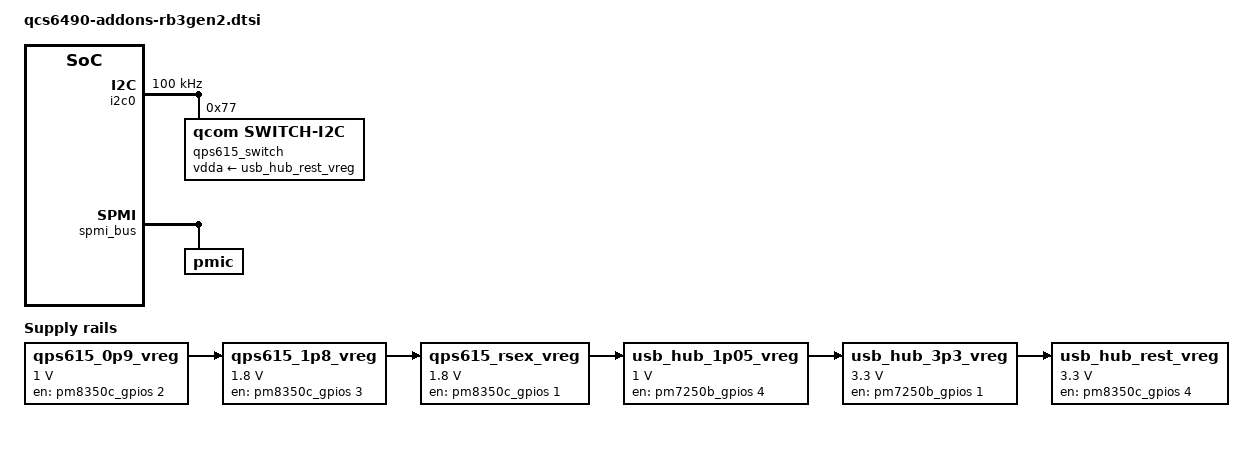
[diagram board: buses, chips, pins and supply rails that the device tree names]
// SPDX-License-Identifier: BSD-3-Clause
/*
 * qcm6490-addons-rb3gen2 device tree source include
 *
 * Copyright (c) 2024 Qualcomm Innovation Center, Inc. All rights reserved.
 *
 */
#include "qcm6490-addons.dtsi"

/ {
	qps615_0p9_vreg: qps615-0p9-vreg {
		compatible = "regulator-fixed";
		regulator-name = "qps615_0p9_vreg";
		gpio = <&pm8350c_gpios 2 0>;
		regulator-min-microvolt = <1000000>;
		regulator-max-microvolt = <1000000>;
		enable-active-high;
		regulator-enable-ramp-delay = <4300>;
	};

	qps615_1p8_vreg: qps615-1p8-vreg {
		compatible = "regulator-fixed";
		regulator-name = "qps615_1p8_vreg";
		gpio = <&pm8350c_gpios 3 0>;
		vin-supply = <&qps615_0p9_vreg>;
		regulator-min-microvolt = <1800000>;
		regulator-max-microvolt = <1800000>;
		enable-active-high;
		regulator-enable-ramp-delay = <10000>;
	};

	qps615_rsex_vreg: qps615-rsex-vreg {
		compatible = "regulator-fixed";
		regulator-name = "qps615_rsex_vreg";
		gpio = <&pm8350c_gpios 1 0>;
		vin-supply = <&qps615_1p8_vreg>;
		regulator-min-microvolt = <1800000>;
		regulator-max-microvolt = <1800000>;
		enable-active-high;
		regulator-enable-ramp-delay = <10000>;
	};

	usb_hub_1p05_vreg: usb-hub-1p05-vreg {
		compatible = "regulator-fixed";
		regulator-name = "usb_hub_1p05_vreg";
		gpio = <&pm7250b_gpios 4 0>;
		vin-supply = <&qps615_rsex_vreg>;
		regulator-min-microvolt = <1000000>;
		regulator-max-microvolt = <1000000>;
		enable-active-high;
		regulator-enable-ramp-delay = <5000>;
	};

	usb_hub_3p3_vreg: usb-hub-3p3-vreg {
		compatible = "regulator-fixed";
		regulator-name = "usb_hub_3p3_vreg";
		gpio = <&pm7250b_gpios 1 0>;
		vin-supply = <&usb_hub_1p05_vreg>;
		regulator-min-microvolt = <3300000>;
		regulator-max-microvolt = <3300000>;
		enable-active-high;
		regulator-enable-ramp-delay = <10000>;
	};

	usb_hub_rest_vreg: usb-hub-rest-vreg {
		compatible = "regulator-fixed";
		regulator-name = "usb_hub_rest_vreg";
		gpio = <&pm8350c_gpios 4 0>;
		vin-supply = <&usb_hub_3p3_vreg>;
		regulator-min-microvolt = <3300000>;
		regulator-max-microvolt = <3300000>;
		enable-active-high;
	};
};

&i2c0 {
	clock-frequency = <100000>;
	status = "okay";

	qps615_switch: pcie-switch@77 {
		compatible = "qcom,switch-i2c";
		reg = <0x77>;
		vdda-supply = <&usb_hub_rest_vreg>;
		status = "okay";
	};
};

&pcie1 {
	dummy-supply = <&qps615_switch>;
};

&pcie1_phy {
	qcom,refclk-always-on;
};

&q6apmbedai {
	qcom,prmcc_clk = <&q6prmcc>;
};

&sound {

	pinctrl-names = "default", "stub_aif1_active", "stub_aif1_sleep";
	pinctrl-0 = <&mi2s0_data0_sleep>, <&mi2s0_data1_sleep>, <&mi2s0_mclk_sleep>,
		    <&mi2s0_sclk_sleep>, <&mi2s0_ws_sleep>;
	pinctrl-1 = <&mi2s0_data0>, <&mi2s0_data1>, <&mi2s0_mclk>, <&mi2s0_sclk>, <&mi2s0_ws>;
	pinctrl-2 = <&mi2s0_data0_sleep>, <&mi2s0_data1_sleep>, <&mi2s0_mclk_sleep>,
		    <&mi2s0_sclk_sleep>, <&mi2s0_ws_sleep>;

	mi2s-capture-dai-link {
		link-name = "MI2S-LPAIF-TX-PRIMARY";

		cpu {
			sound-dai = <&q6apmbedai PRIMARY_MI2S_TX>;
		};

		codec {
			sound-dai = <&msm_stub_codec 1>;
		};
	};

	mi2s-playback-dai-link {
		link-name = "MI2S-LPAIF-RX-PRIMARY";

		cpu {
			sound-dai = <&q6apmbedai PRIMARY_MI2S_RX>;
		};

		codec {
			sound-dai = <&msm_stub_codec 0>;
		};
	};

	tdm-capture-dai-link {
		link-name = "TDM-LPAIF-TX-PRIMARY";

		cpu {
			sound-dai = <&q6apmbedai PRIMARY_TDM_TX_0>;
		};

		codec {
			sound-dai = <&msm_stub_codec 1>;
		};
	};

	tdm-playback-dai-link {
		link-name = "TDM-LPAIF-RX-PRIMARY";

		cpu {
			sound-dai = <&q6apmbedai PRIMARY_TDM_RX_0>;
		};

		codec {
			sound-dai = <&msm_stub_codec 0>;
		};
	};

};

&tlmm {
	mi2s0_data0_sleep: mi2s0-data0-sleep {
		pins = "gpio98";
		function = "gpio";
		drive-strength = <2>;
		bias-pull-down;
		input-enable;
	};

	mi2s0_data1_sleep: mi2s0-data1-sleep {
		pins = "gpio99";
		function = "gpio";
		drive-strength = <2>;
		bias-pull-down;
		input-enable;
	};

	mi2s0_mclk_sleep: mi2s0-mclk-sleep {
		pins = "gpio96";
		function = "gpio";
		drive-strength = <2>;
		bias-pull-down;
		input-enable;
	};

	mi2s0_sclk_sleep: mi2s0-sclk-sleep {
		pins = "gpio97";
		function = "gpio";
		drive-strength = <2>;
		bias-pull-down;
		input-enable;
	};

	mi2s0_ws_sleep: mi2s0-ws-sleep {
		pins = "gpio100";
		function = "gpio";
		drive-strength = <2>;
		bias-pull-down;
		input-enable;
	};
};

&mi2s0_data0 {
	drive-strength = <8>;
	bias-disable;
};

&mi2s0_data1 {
	drive-strength = <8>;
	bias-disable;
};

&mi2s0_mclk {
	drive-strength = <8>;
	bias-disable;
	output-high;
};

&mi2s0_sclk {
	drive-strength = <8>;
	bias-disable;
	output-high;
};

&mi2s0_ws {
	drive-strength = <8>;
	bias-disable;
	output-high;
};

&spmi_bus {
	pmic@PM7250B_SID {
		pm7250b_bcl: bcl@1d00 {
			compatible = "qcom,bcl-v5";
			reg = <0x1d00>;
			interrupts = <PM7250B_SID 0x1d 0x0 IRQ_TYPE_EDGE_RISING>,
					<PM7250B_SID 0x1d 0x1 IRQ_TYPE_EDGE_RISING>,
					<PM7250B_SID 0x1d 0x2 IRQ_TYPE_EDGE_RISING>;
			interrupt-names = "bcl-lvl0",
						"bcl-lvl1",
						"bcl-lvl2";
			#thermal-sensor-cells = <1>;
		};
	};
};

&thermal_zones {
	pm7250b-ibat-lvl0 {
		polling-delay-passive = <0>;
		polling-delay = <0>;
		thermal-sensors = <&pm7250b_bcl 0>;

		trips {
			ibat_lvl0:ibat-lvl0 {
				temperature = <6000>;
				hysteresis = <200>;
				type = "passive";
			};
		};
	};

	pm7250b-ibat-lvl1 {
		polling-delay-passive = <0>;
		polling-delay = <0>;
		thermal-sensors = <&pm7250b_bcl 1>;

		trips {
			ibat_lvl1:ibat-lvl1 {
				temperature = <7500>;
				hysteresis = <200>;
				type = "passive";
			};
		};
	};

	pm7250b-bcl-lvl0 {
		polling-delay-passive = <100>;
		polling-delay = <0>;
		thermal-sensors = <&pm7250b_bcl 5>;

		trips {
			b_bcl_lvl0: b-bcl-lvl0 {
				temperature = <1>;
				hysteresis = <1>;
				type = "passive";
			};
		};

		cooling-maps {
			map0 {
				trip = <&b_bcl_lvl0>;
				cooling-device = <&CPU4_idle 100 100>;
			};

			map1 {
				trip = <&b_bcl_lvl0>;
				cooling-device = <&CPU5_idle 100 100>;
			};

			map2 {
				trip = <&b_bcl_lvl0>;
				cooling-device = <&CPU6_idle 100 100>;
			};

			map3 {
				trip = <&b_bcl_lvl0>;
				cooling-device = <&CPU7_idle 100 100>;
			};

			map4 {
				trip = <&b_bcl_lvl0>;
				cooling-device = <&cdsp_sw 2 2>;
			};

			map5 {
				trip = <&b_bcl_lvl0>;
				cooling-device = <&modem_pa 2 2>;
			};

			map6 {
				trip = <&b_bcl_lvl0>;
				cooling-device = <&modem_tj 1 1>;
			};
		};
	};

	pm7250b-bcl-lvl1 {
		polling-delay-passive = <100>;
		polling-delay = <0>;
		thermal-sensors = <&pm7250b_bcl 6>;

		trips {
			b_bcl_lvl1: b-bcl-lvl1 {
				temperature = <1>;
				hysteresis = <1>;
				type = "passive";
			};
		};

		cooling-maps {
			map0 {
				trip = <&b_bcl_lvl1>;
				cooling-device = <&msm_gpu 5 THERMAL_NO_LIMIT>;
			};

			map1 {
				trip = <&b_bcl_lvl1>;
				cooling-device = <&cdsp_sw 4 4>;
			};

			map2 {
				trip = <&b_bcl_lvl1>;
				cooling-device = <&modem_tj 3 3>;
			};
		};
	};

	pm7250b-bcl-lvl2 {
		polling-delay-passive = <100>;
		polling-delay = <0>;
		thermal-sensors = <&pm7250b_bcl 7>;

		trips {
			b_bcl_lvl2: b-bcl-lvl2 {
				temperature = <1>;
				hysteresis = <1>;
				type = "passive";
			};
		};

		cooling-maps {
			map0 {
				trip = <&b_bcl_lvl2>;
				cooling-device = <&cdsp_sw 5 5>;
			};
		};
	};
};
